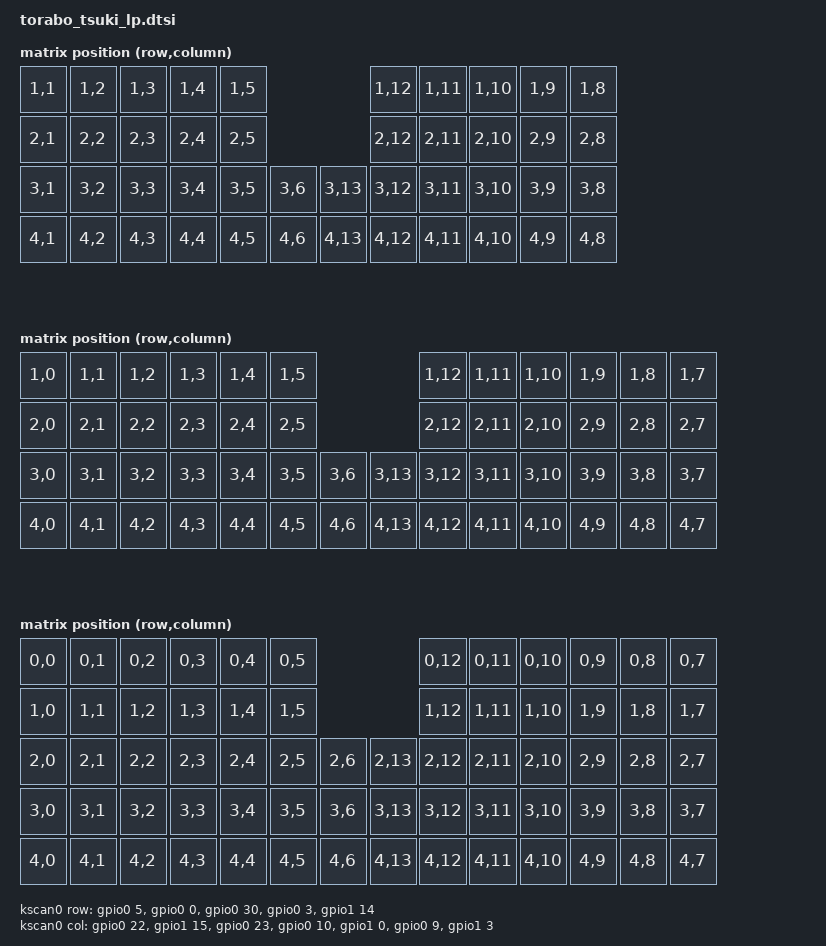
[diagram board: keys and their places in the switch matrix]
#include <zephyr/dt-bindings/gpio/nordic-nrf-gpio.h>
#include <dt-bindings/input/input-event-codes.h>
#include <input/processors.dtsi>
#include <input/processors/runtime-input-processor.dtsi>
#include <dt-bindings/zmk/matrix_transform.h>
#include "torabo_tsuki_lp_layouts.dtsi"

/ {
    chosen {
        zmk,physical-layout = &physical_layout_m;
        zmk,kscan = &kscan0;
        zmk,battery = &non_lipo_battery;
    };

    size_s_transform: keymap_transform_0 {
        compatible = "zmk,matrix-transform";
        columns = <14>;
        rows = <4>;
        map = <
            RC(1,1) RC(1,2) RC(1,3) RC(1,4) RC(1,5)                  RC(1,12) RC(1,11) RC(1,10) RC(1,9) RC(1,8)
            RC(2,1) RC(2,2) RC(2,3) RC(2,4) RC(2,5)                  RC(2,12) RC(2,11) RC(2,10) RC(2,9) RC(2,8)
            RC(3,1) RC(3,2) RC(3,3) RC(3,4) RC(3,5) RC(3,6) RC(3,13) RC(3,12) RC(3,11) RC(3,10) RC(3,9) RC(3,8)
            RC(4,1) RC(4,2) RC(4,3) RC(4,4) RC(4,5) RC(4,6) RC(4,13) RC(4,12) RC(4,11) RC(4,10) RC(4,9) RC(4,8)
        >;
    };

    size_m_transform: keymap_transform_1 {
        compatible = "zmk,matrix-transform";
        columns = <14>;
        rows = <4>;
        map = <
            RC(1,0) RC(1,1) RC(1,2) RC(1,3) RC(1,4) RC(1,5)                  RC(1,12) RC(1,11) RC(1,10) RC(1,9) RC(1,8) RC(1,7)
            RC(2,0) RC(2,1) RC(2,2) RC(2,3) RC(2,4) RC(2,5)                  RC(2,12) RC(2,11) RC(2,10) RC(2,9) RC(2,8) RC(2,7)
            RC(3,0) RC(3,1) RC(3,2) RC(3,3) RC(3,4) RC(3,5) RC(3,6) RC(3,13) RC(3,12) RC(3,11) RC(3,10) RC(3,9) RC(3,8) RC(3,7)
            RC(4,0) RC(4,1) RC(4,2) RC(4,3) RC(4,4) RC(4,5) RC(4,6) RC(4,13) RC(4,12) RC(4,11) RC(4,10) RC(4,9) RC(4,8) RC(4,7)
        >;
    };

    size_l_transform: keymap_transform_2 {
        compatible = "zmk,matrix-transform";
        columns = <14>;
        rows = <5>;
        map = <
            RC(0,0) RC(0,1) RC(0,2) RC(0,3) RC(0,4) RC(0,5)                  RC(0,12) RC(0,11) RC(0,10) RC(0,9) RC(0,8) RC(0,7)
            RC(1,0) RC(1,1) RC(1,2) RC(1,3) RC(1,4) RC(1,5)                  RC(1,12) RC(1,11) RC(1,10) RC(1,9) RC(1,8) RC(1,7)
            RC(2,0) RC(2,1) RC(2,2) RC(2,3) RC(2,4) RC(2,5) RC(2,6) RC(2,13) RC(2,12) RC(2,11) RC(2,10) RC(2,9) RC(2,8) RC(2,7)
            RC(3,0) RC(3,1) RC(3,2) RC(3,3) RC(3,4) RC(3,5) RC(3,6) RC(3,13) RC(3,12) RC(3,11) RC(3,10) RC(3,9) RC(3,8) RC(3,7)
            RC(4,0) RC(4,1) RC(4,2) RC(4,3) RC(4,4) RC(4,5) RC(4,6) RC(4,13) RC(4,12) RC(4,11) RC(4,10) RC(4,9) RC(4,8) RC(4,7)
        >;
    };

    kscan0: kscan {
        compatible = "zmk,kscan-gpio-matrix";

        col-gpios
            = <&gpio0 22 (GPIO_ACTIVE_HIGH | GPIO_PULL_DOWN)>,
            <&gpio1 15   (GPIO_ACTIVE_HIGH | GPIO_PULL_DOWN)>,
            <&gpio0 23   (GPIO_ACTIVE_HIGH | GPIO_PULL_DOWN)>,
            <&gpio0 10   (GPIO_ACTIVE_HIGH | GPIO_PULL_DOWN)>,
            <&gpio1 0    (GPIO_ACTIVE_HIGH | GPIO_PULL_DOWN)>,
            <&gpio0 9    (GPIO_ACTIVE_HIGH | GPIO_PULL_DOWN)>,
            <&gpio1 3    (GPIO_ACTIVE_HIGH | GPIO_PULL_DOWN)>
            ;

        row-gpios
            = <&gpio0 5 (GPIO_ACTIVE_HIGH)>,
            <&gpio0 0  (GPIO_ACTIVE_HIGH)>,
            <&gpio0 30 (GPIO_ACTIVE_HIGH)>,
            <&gpio0 3  (GPIO_ACTIVE_HIGH)>,
            <&gpio1 14 (GPIO_ACTIVE_HIGH)>
        ;

        wakeup-source;
    };

    leds {
        compatible = "gpio-leds";
        status_led: status_led {
            gpios = <&bmp 2 GPIO_ACTIVE_HIGH>;
            label = "Status LED";
        };
    };

    status_led_device: status_led_device {
        compatible = "zmk,status-led";
        led = <&status_led>;
    };

    bootloader_trigger: bootloader_trigger {
        compatible = "zmk,cdc-acm-bootloader-trigger";
    };

    pointing_listener: pointing_listener {
        compatible = "zmk,input-listener";
        status = "disabled";
    };

    /*
     * 左Peripheralから届くポインター入力は、右Centralで処理します。
     * processor-labelはDYA Studioに表示されるため、左右を区別できる短い名前にします。
     */
    /omit-if-no-ref/ split_mouse_runtime_input_processor: split_mouse_runtime_input_processor {
        compatible = "zmk,input-processor-runtime";
        processor-label = "lmouse";
        type = <INPUT_EV_REL>;
        x-codes = <INPUT_REL_X>;
        y-codes = <INPUT_REL_Y>;
        scale-multiplier = <1>;
        scale-divisor = <1>;
        rotation-degrees = <0>;
        track-remainders;

        /* 従来どおり、左側は150msの待機後にMouseレイヤー1を有効化します。 */
        temp-layer-enabled;
        temp-layer = <1>;
        temp-layer-activation-delay-ms = <150>;
        temp-layer-deactivation-delay-ms = <800>;
        temp-layer-transparent-behavior = <&trans>;
        temp-layer-kp-behavior = <&kp>;
        temp-layer-keep-keycodes = <LEFT_CONTROL LEFT_SHIFT LEFT_ALT LEFT_GUI
                                    RIGHT_CONTROL RIGHT_SHIFT RIGHT_ALT RIGHT_GUI>;

        x-invert;
        y-invert;
        #input-processor-cells = <0>;
    };

    /omit-if-no-ref/ split_scroll_runtime_input_processor: split_scroll_runtime_input_processor {
        compatible = "zmk,input-processor-runtime";
        processor-label = "lscroll";
        type = <INPUT_EV_REL>;
        x-codes = <INPUT_REL_X>;
        y-codes = <INPUT_REL_Y>;
        scale-multiplier = <1>;
        scale-divisor = <64>;
        rotation-degrees = <0>;
        track-remainders;

        /* Layer 5だけでXY移動をスクロールへ変換し、従来どおりXだけ反転します。 */
        active-layers = <BIT(5)>;
        xy-to-scroll-enabled;
        x-invert;
        #input-processor-cells = <0>;
    };

    vbatt: vbatt {
        // Disable default battery monitoring
        status = "disabled";
    };
    non_lipo_battery: non_lipo_battery {
        compatible = "zmk,non-lipo-battery";
        io-channels = <&adc 4>; 
    };
};

&pinctrl {
    spi0_default: spi0_default {
        group1 {
            psels = <NRF_PSEL(SPIM_SCK, 0, 18)>,
                    <NRF_PSEL(SPIM_MOSI, 0, 16)>,
                    <NRF_PSEL(SPIM_MISO, 0, 16)>;
        };
    };

    spi0_sleep: spi0_sleep {
        group1 {
            psels = <NRF_PSEL(SPIM_SCK, 0, 18)>,
                    <NRF_PSEL(SPIM_MOSI, 0, 16)>,
                    <NRF_PSEL(SPIM_MISO, 0, 16)>;
        };
        low-power-enable;
    };

    i2c0_default: i2c0_default {
        group1 {
            psels = <NRF_PSEL(TWIM_SDA, 0, 18)>,
                    <NRF_PSEL(TWIM_SCL, 0, 16)>;
            bias-pull-up;
        };
    };

    i2c0_sleep: i2c0_sleep {
        group1 {
            psels = <NRF_PSEL(TWIM_SDA, 0, 18)>,
                    <NRF_PSEL(TWIM_SCL, 0, 16)>;
            bias-pull-up;
            low-power-enable;
        };
    };
};

// trackball and trackpad are defined in the snippets

&physical_layout_s {
    compatible = "zmk,physical-layout";
    display-name = "S Layout";
    kscan = <&kscan0>;
    transform = <&size_s_transform>;
};

&physical_layout_m {
    compatible = "zmk,physical-layout";
    display-name = "M Layout";
    kscan = <&kscan0>;
    transform = <&size_m_transform>;
};

&physical_layout_l {
    compatible = "zmk,physical-layout";
    display-name = "L Layout";
    kscan = <&kscan0>;
    transform = <&size_l_transform>;
};
